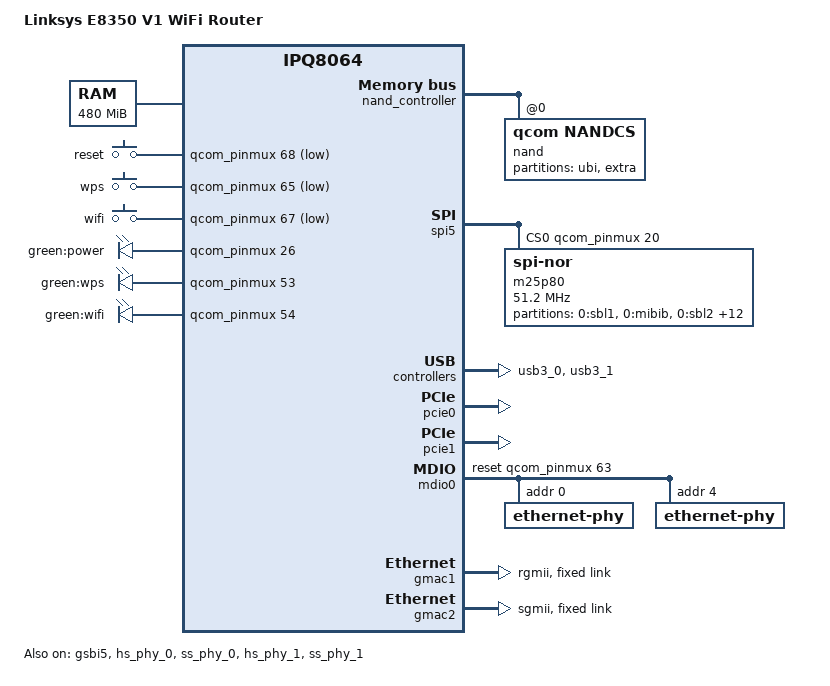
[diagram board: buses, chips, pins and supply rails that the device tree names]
// SPDX-License-Identifier: GPL-2.0-or-later OR MIT
#include "qcom-ipq8064-v2.0.dtsi"

#include <dt-bindings/input/input.h>
#include <dt-bindings/soc/qcom,tcsr.h>

/ {
	model = "Linksys E8350 V1 WiFi Router";
	compatible = "linksys,e8350-v1", "qcom,ipq8064";
	
	memory@0 {
		reg = <0x42000000 0x1e000000>;
		device_type = "memory";
	};
	
	aliases {
		serial0 = &gsbi4_serial;
		
		led-boot = &led_power;
		led-failsafe = &led_power;
		led-running = &led_power;
		led-upgrade = &led_power;
	};
	
	keys {
		compatible = "gpio-keys";
		pinctrl-0 = <&button_pins>;
		pinctrl-names = "default";
		
		reset {
			label = "reset";
			gpios = <&qcom_pinmux 68 GPIO_ACTIVE_LOW>;
			linux,code = <KEY_RESTART>;
			debounce-interval = <60>;
			wakeup-source;
		};
		
		wps {
			label = "wps";
			gpios = <&qcom_pinmux 65 GPIO_ACTIVE_LOW>;
			linux,code = <KEY_WPS_BUTTON>;
			debounce-interval = <60>;
			wakeup-source;
		};
		
		wifi {
			label = "wifi";
			gpios = <&qcom_pinmux 67 GPIO_ACTIVE_LOW>;
			linux,code = <KEY_RFKILL>;
			debounce-interval = <60>;
			wakeup-source;
		};
	};
	
	leds {
		compatible = "gpio-leds";
		pinctrl-0 = <&led_pins>;
		pinctrl-names = "default";
		
		led_power: power {
			label = "green:power";
			gpios = <&qcom_pinmux 26 GPIO_ACTIVE_HIGH>;
			default-state = "keep";
		};
		
		wps {
			label = "green:wps";
			gpios = <&qcom_pinmux 53 GPIO_ACTIVE_HIGH>;
		};
		
		wifi {
			label = "green:wifi";
			gpios = <&qcom_pinmux 54 GPIO_ACTIVE_HIGH>;
		};
	};
};

&nand_controller {
	status = "okay";
	pinctrl-0 = <&nand_pins>;
	pinctrl-names = "default";

	#address-cells = <1>;
	#size-cells = <1>;
	
	nand@0 {
		reg = <0>;
		compatible = "qcom,nandcs";
		
		nand-ecc-strength = <4>;
		nand-ecc-step-size = <512>;
		nand-bus-width = <8>;
		
		partitions {
			compatible = "fixed-partitions";
			#address-cells = <1>;
			#size-cells = <1>;
			
			partition@0 {
				label = "ubi";
				reg = <0 0x4000000>;
			};
			partition@4000000 {
				label = "extra";
				reg = <0x4000000 0x4000000>;
			};
		};
	};
};

&qcom_pinmux {
	button_pins: button_pins {
		mux {
			pins = "gpio68","gpio65", "gpio67";
			function = "gpio";
			drive-strength = <2>;
			bias-pull-up;
		};
	};
	
	led_pins: led_pins {
		mux {
			pins = "gpio26","gpio53", "gpio54";
			function = "gpio";
			drive-strength = <2>;
			bias-pull-up;
		};
	};
	
	switch_reset: switch_reset_pins {
		mux {
			pins = "gpio63";
			function = "gpio";
			drive-strength = <12>;
			bias-pull-up;
		};
	};
};

&gsbi5 {
	qcom,mode = <GSBI_PROT_SPI>;
	status = "okay";
	
	spi5: spi@1a280000 {
		status = "okay";
		
		pinctrl-0 = <&spi_pins>;
		pinctrl-names = "default";
		
		cs-gpios = <&qcom_pinmux 20 GPIO_ACTIVE_HIGH>;
		
		m25p80@0 {
			compatible = "jedec,spi-nor";
			spi-max-frequency = <51200000>;
			reg = <0>;
			
			partitions {
				compatible = "fixed-partitions";
				#address-cells = <1>;
				#size-cells = <1>;
				
				partition@0 {
					label = "0:sbl1";
					reg = <0x0000000 0x0010000>;
					read-only;
				};
				
				partition@10000 {
					label = "0:mibib";
					reg = <0x0010000 0x0020000>;
					read-only;
				};
				
				partition@30000 {
					label = "0:sbl2";
					reg = <0x0030000 0x0020000>;
					read-only;
				};
				
				partition@50000 {
					label = "0:sbl3";
					reg = <0x0050000 0x0030000>;
					read-only;
				};
				
				partition@80000 {
					label = "0:ddrconfig";
					reg = <0x0080000 0x0010000>;
					read-only;
				};
				
				partition@90000 {
					label = "0:ssd";
					reg = <0x0090000 0x0010000>;
					read-only;
				};
				
				partition@a0000 {
					label = "0:tz";
					reg = <0x00a0000 0x0030000>;
					read-only;
				};
				
				partition@d0000 {
					label = "0:rpm";
					reg = <0x00d0000 0x0020000>;
					read-only;
				};
				
				partition@f0000 {
					label = "0:oldappsbl";
					reg = <0x00f0000 0x0040000>;
					read-only;
				};
				
				partition@130000 {
					label = "0:appsblenv";
					reg = <0x0130000 0x0040000>;
					read-only;
				};
				
				art: partition@170000 {
					label = "0:ART";
					reg = <0x0170000 0x0020000>;
					read-only;
				};
				
				partition@190000 {
					label = "0:uboot";
					reg = <0x0190000 0x0050000>;
					read-only;
				};
				
				partition@1e0000 {
					label = "0:oldnss1";
					reg = <0x01e0000 0x0020000>;
					read-only;
				};
				
				partition@200000 {
					label = "0:nvram";
					reg = <0x0200000 0x0020000>;
					read-only;
				};
				
				partition@220000 {
					label = "0:oldkernel";
					reg = <0x0220000 0x01e0000>;
					read-only;
				};
			};
		};
	};
};

&hs_phy_0 {
	status = "okay";
};

&ss_phy_0 {
	status = "okay";
};

&usb3_0 {
	status = "okay";
};

&hs_phy_1 {
	status = "okay";
};

&ss_phy_1 {
	status = "okay";
};

&usb3_1 {
	status = "okay";
};

&pcie0 {
	status = "okay";
	
	max-link-speed = <1>;
};

&pcie1 {
	status = "okay";
};

&mdio0 {
	status = "okay";
	
	pinctrl-0 = <&mdio0_pins>;
	pinctrl-names = "default";
	
	/* Switch from documentation require at least 12ms for reset */
	reset-gpios = <&qcom_pinmux 63 GPIO_ACTIVE_HIGH>;
	reset-post-delay-us = <12000>;
	
	ethernet-phy@0 {
		reg = <0>;
		qca,ar8327-initvals = <
			0x00004 0x07600000  /* PAD0_MODE */
			0x00008 0x01000000  /* PAD5_MODE */
			0x0000c 0x00000080  /* PAD6_MODE */
			0x000e4 0x0006a545  /* MAC_POWER_SEL */
			0x000e0 0xc74164de  /* SGMII_CTRL */
			0x0007c 0x0000004e  /* PORT0_STATUS */
			0x00094 0x0000004e  /* PORT6_STATUS */
			>;
	};

	ethernet-phy@4 {
		reg = <4>;
	};
};

&gmac1 {
	status = "okay";
	
	phy-mode = "rgmii";
	qcom,id = <1>;
	
	pinctrl-0 = <&rgmii2_pins>;
	pinctrl-names = "default";
	
	fixed-link {
		speed = <1000>;
		full-duplex;
	};
};

&gmac2 {
	status = "okay";
	
	phy-mode = "sgmii";
	qcom,id = <2>;
	
	fixed-link {
		speed = <1000>;
		full-duplex;
	};
};

&tcsr {
	qcom,usb-ctrl-select = <TCSR_USB_SELECT_USB3_DUAL>;
	compatible = "qcom,tcsr", "syscon";
};

&adm_dma {
	status = "okay";
};
